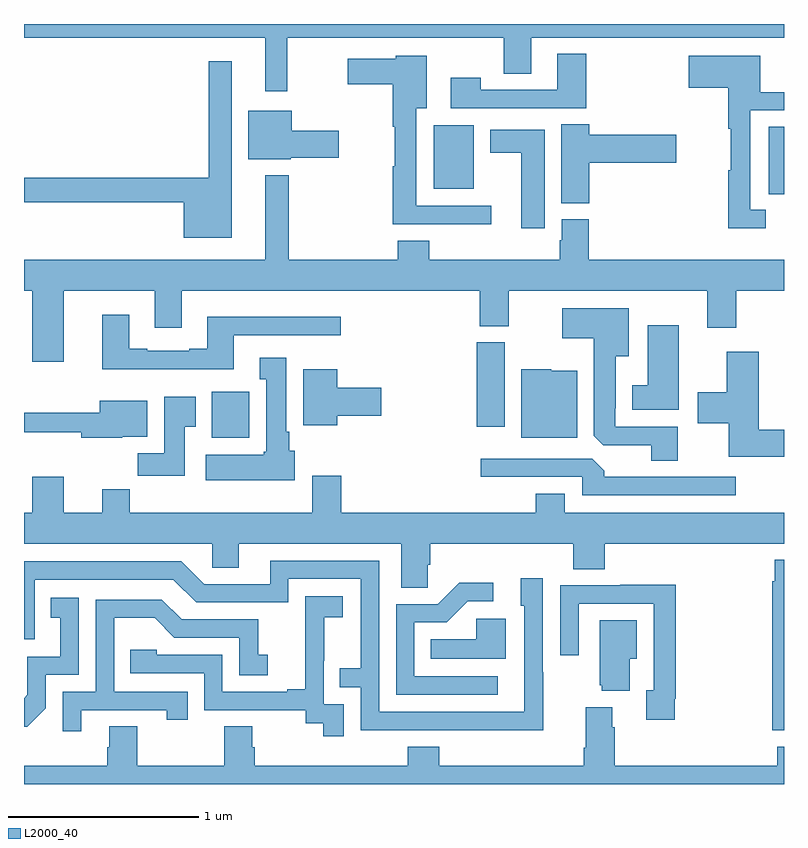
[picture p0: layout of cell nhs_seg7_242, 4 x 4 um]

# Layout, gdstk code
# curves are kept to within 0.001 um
import gdstk
lib = gdstk.Library(unit=1e-6, precision=1e-09)
def R(c, l, rs):  # rectangles x0, y0, x1, y1
    for r in rs: c.add(gdstk.rectangle(r[:2], r[2:], *l))
def P(c, l, *ps):  # polygons
    for p in ps: c.add(gdstk.Polygon(p, *l))
L2000_40 = (2000, 40)

nhs_seg7_242 = lib.new_cell('nhs_seg7_242')
R(nhs_seg7_242, L2000_40, [(129.989,1019.822,130.186,1020.064), (131.384,1019.88,131.53,1020.324), (132.92,1021.104,133,1021.46), (131.156,1021.133,131.368,1021.468)])
P(nhs_seg7_242, L2000_40, [(130.385,1021.928),(131.524,1021.928),(131.524,1021.738),(131.671,1021.738),(131.671,1021.928),(133,1021.928),(133,1022),(129,1022),(129,1021.928),(130.271,1021.928),(130.271,1021.647),(130.385,1021.647)],
  [(131.96,1021.843),(131.807,1021.843),(131.807,1021.653),(131.403,1021.653),(131.403,1021.717),(131.247,1021.717),(131.247,1021.557),(131.96,1021.557)],
  [(132.904,1021.023),(132.822,1021.023),(132.822,1021.545),(133,1021.545),(133,1021.641),(132.874,1021.641),(132.874,1021.834),(132.498,1021.834),(132.498,1021.664),(132.706,1021.664),(132.706,1021.448),(132.721,1021.448),(132.721,1021.23),(132.706,1021.23),(132.706,1020.926),(132.904,1020.926)],
  [(131.458,1021.044),(131.065,1021.044),(131.065,1021.556),(131.119,1021.556),(131.119,1021.834),(130.956,1021.834),(130.956,1021.816),(130.704,1021.816),(130.704,1021.682),(130.94,1021.682),(130.94,1021.46),(130.952,1021.46),(130.952,1021.251),(130.94,1021.251),(130.94,1020.947),(131.458,1020.947)],
  [(130.093,1021.804),(129.972,1021.804),(129.972,1021.19),(129,1021.19),(129,1021.062),(129.842,1021.062),(129.842,1020.875),(130.093,1020.875)],
  [(130.404,1021.295),(130.657,1021.295),(130.657,1021.437),(130.408,1021.437),(130.408,1021.543),(130.181,1021.543),(130.181,1021.289),(130.404,1021.289)],
  [(131.975,1021.271),(132.433,1021.271),(132.433,1021.418),(131.975,1021.418),(131.975,1021.472),(131.828,1021.472),(131.828,1021.057),(131.975,1021.057)],
  [(131.74,1021.444),(131.453,1021.444),(131.453,1021.322),(131.618,1021.322),(131.618,1020.924),(131.74,1020.924)],
  [(129.208,1020.596),(129.689,1020.596),(129.689,1020.402),(129.829,1020.402),(129.829,1020.596),(131.399,1020.596),(131.399,1020.409),(131.551,1020.409),(131.551,1020.596),(132.596,1020.596),(132.596,1020.402),(132.749,1020.402),(132.749,1020.596),(133,1020.596),(133,1020.76),(131.972,1020.76),(131.972,1020.972),(131.831,1020.972),(131.831,1020.861),(131.819,1020.861),(131.819,1020.76),(131.132,1020.76),(131.132,1020.859),(130.967,1020.859),(130.967,1020.76),(130.393,1020.76),(130.393,1021.204),(130.271,1021.204),(130.271,1020.76),(129,1020.76),(129,1020.596),(129.044,1020.596),(129.044,1020.222),(129.208,1020.222)],
  [(132.442,1019.88),(132.111,1019.88),(132.111,1019.977),(132.115,1019.977),(132.115,1020.251),(132.184,1020.251),(132.184,1020.505),(131.832,1020.505),(131.832,1020.347),(131.999,1020.347),(131.999,1019.833),(132.048,1019.784),(132.302,1019.784),(132.302,1019.701),(132.442,1019.701)],
  [(130.105,1020.363),(130.666,1020.363),(130.666,1020.46),(129.965,1020.46),(129.965,1020.292),(129.869,1020.292),(129.869,1020.279),(129.649,1020.279),(129.649,1020.292),(129.553,1020.292),(129.553,1020.469),(129.413,1020.469),(129.413,1020.182),(130.105,1020.182)],
  [(132.445,1020.415),(132.284,1020.415),(132.284,1020.1),(132.2,1020.1),(132.2,1019.969),(132.445,1019.969)],
  [(133,1019.864),(132.866,1019.864),(132.866,1020.274),(132.698,1020.274),(132.698,1020.063),(132.546,1020.063),(132.546,1019.9),(132.71,1019.9),(132.71,1019.722),(133,1019.722)],
  [(130.426,1019.754),(130.396,1019.754),(130.396,1019.854),(130.381,1019.854),(130.381,1020.244),(130.241,1020.244),(130.241,1020.131),(130.274,1020.131),(130.274,1019.748),(130.261,1019.748),(130.261,1019.734),(129.957,1019.734),(129.957,1019.6),(130.426,1019.6)],
  [(130.648,1019.939),(130.879,1019.939),(130.879,1020.086),(130.648,1020.086),(130.648,1020.184),(130.469,1020.184),(130.469,1019.888),(130.648,1019.888)],
  [(131.911,1020.175),(131.775,1020.175),(131.775,1020.184),(131.618,1020.184),(131.618,1019.822),(131.911,1019.822)],
  [(129.847,1019.881),(129.904,1019.881),(129.904,1020.037),(129.737,1020.037),(129.737,1019.74),(129.598,1019.74),(129.598,1019.622),(129.847,1019.622)],
  [(129.516,1019.828),(129.649,1019.828),(129.649,1020.016),(129.398,1020.016),(129.398,1019.954),(129,1019.954),(129,1019.851),(129.302,1019.851),(129.302,1019.822),(129.516,1019.822)],
  [(132.745,1019.616),(132.053,1019.616),(132.053,1019.65),(131.991,1019.712),(131.403,1019.712),(131.403,1019.616),(131.937,1019.616),(131.937,1019.52),(132.745,1019.52)],
  [(131.124,1019.155),(131.138,1019.155),(131.138,1019.264),(131.891,1019.264),(131.891,1019.131),(132.056,1019.131),(132.056,1019.264),(133,1019.264),(133,1019.428),(131.845,1019.428),(131.845,1019.527),(131.693,1019.527),(131.693,1019.428),(130.67,1019.428),(130.67,1019.623),(130.517,1019.623),(130.517,1019.428),(129.557,1019.428),(129.557,1019.552),(129.413,1019.552),(129.413,1019.428),(129.208,1019.428),(129.208,1019.617),(129.044,1019.617),(129.044,1019.428),(129,1019.428),(129,1019.264),(129.99,1019.264),(129.99,1019.137),(130.129,1019.137),(130.129,1019.264),(130.985,1019.264),(130.985,1019.032),(131.124,1019.032)],
  [(133,1019.179),(132.95,1019.179),(132.95,1019.066),(132.938,1019.066),(132.938,1018.283),(133,1018.283)],
  [(131.733,1018.589),(131.73,1018.589),(131.73,1019.083),(131.615,1019.083),(131.615,1018.938),(131.634,1018.938),(131.633,1018.38),(130.869,1018.38),(130.869,1019.175),(130.295,1019.175),(130.295,1019.052),(129.948,1019.052),(129.828,1019.172),(129,1019.172),(129,1018.761),(129.057,1018.761),(129.057,1019.076),(129.786,1019.076),(129.906,1018.956),(130.392,1018.956),(130.392,1019.079),(130.773,1019.079),(130.773,1018.61),(130.663,1018.61),(130.663,1018.509),(130.773,1018.509),(130.773,1018.284),(131.733,1018.283)],
  [(131.494,1018.566),(131.055,1018.566),(131.055,1018.851),(131.224,1018.851),(131.335,1018.962),(131.47,1018.962),(131.47,1019.06),(131.291,1019.06),(131.178,1018.947),(130.959,1018.947),(130.959,1018.47),(131.494,1018.47)],
  [(132.424,1018.45),(132.431,1018.45),(132.431,1019.048),(132.139,1019.048),(132.139,1019.046),(131.823,1019.046),(131.823,1018.677),(131.919,1018.677),(131.919,1018.95),(132.315,1018.95),(132.315,1018.494),(132.275,1018.494),(132.275,1018.338),(132.424,1018.338)],
  [(130.683,1018.419),(130.578,1018.419),(130.578,1018.649),(130.58,1018.649),(130.58,1018.877),(130.678,1018.877),(130.678,1018.987),(130.48,1018.987),(130.48,1018.781),(130.481,1018.781),(130.481,1018.498),(130.385,1018.498),(130.385,1018.485),(130.044,1018.485),(130.044,1018.68),(129.699,1018.68),(129.699,1018.707),(129.559,1018.707),(129.559,1018.584),(129.948,1018.584),(129.948,1018.389),(130.482,1018.389),(130.482,1018.321),(130.575,1018.321),(130.575,1018.251),(130.683,1018.251)],
  [(129.114,1018.398),(129.114,1018.575),(129.288,1018.575),(129.288,1018.981),(129.142,1018.981),(129.142,1018.875),(129.191,1018.875),(129.191,1018.671),(129.018,1018.671),(129.018,1018.47),(129,1018.452),(129,1018.301),(129.016,1018.301)],
  [(129.301,1018.389),(129.752,1018.389),(129.752,1018.338),(129.863,1018.338),(129.863,1018.485),(129.474,1018.485),(129.474,1018.874),(129.688,1018.874),(129.792,1018.77),(130.134,1018.77),(130.134,1018.572),(130.282,1018.572),(130.282,1018.681),(130.233,1018.681),(130.233,1018.866),(129.829,1018.866),(129.724,1018.971),(129.378,1018.971),(129.378,1018.485),(129.204,1018.485),(129.204,1018.278),(129.301,1018.278)],
  [(131.536,1018.87),(131.379,1018.87),(131.379,1018.762),(131.14,1018.762),(131.14,1018.658),(131.536,1018.658)],
  [(132.187,1018.658),(132.226,1018.658),(132.226,1018.861),(132.029,1018.861),(132.029,1018.521),(132.041,1018.521),(132.041,1018.49),(132.187,1018.49)],
  [(133,1018.195),(132.965,1018.195),(132.965,1018.096),(132.11,1018.096),(132.11,1018.298),(132.097,1018.298),(132.097,1018.405),(131.957,1018.405),(131.957,1018.192),(131.945,1018.192),(131.945,1018.096),(131.186,1018.096),(131.186,1018.195),(131.021,1018.195),(131.021,1018.096),(130.214,1018.096),(130.214,1018.194),(130.201,1018.194),(130.201,1018.304),(130.054,1018.304),(130.054,1018.096),(129.597,1018.096),(129.597,1018.304),(129.449,1018.304),(129.449,1018.194),(129.437,1018.194),(129.437,1018.096),(129,1018.096),(129,1018),(133,1018)])

lib.write_gds('nhs_seg7_242.gds')
